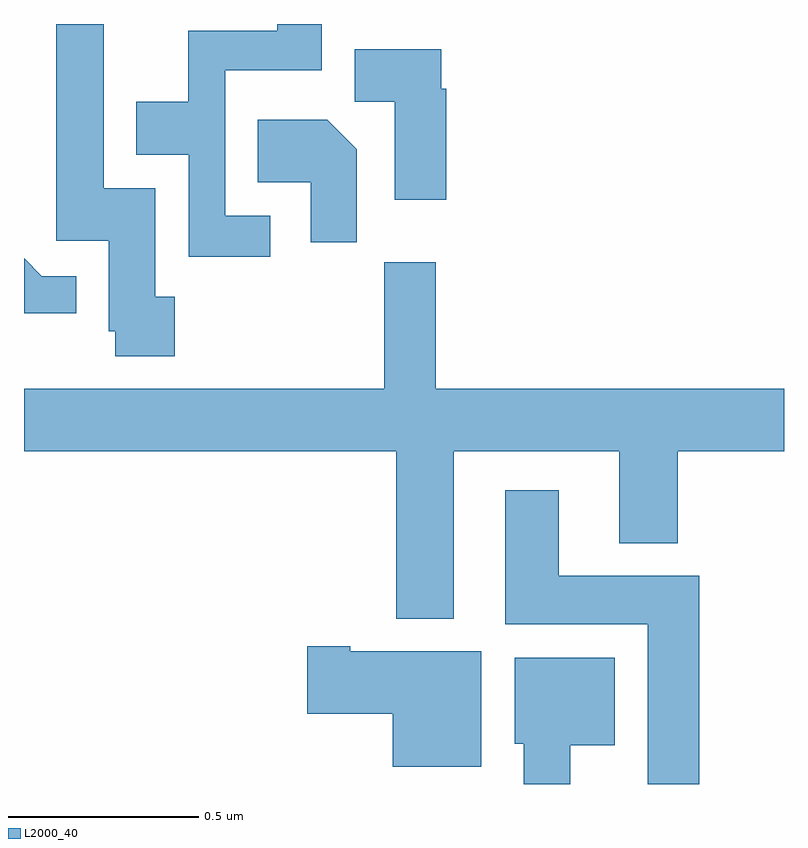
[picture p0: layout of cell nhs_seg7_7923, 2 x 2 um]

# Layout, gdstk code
import gdstk
lib = gdstk.Library(unit=1e-6, precision=1e-09)
def P(c, l, *ps):  # polygons
    for p in ps: c.add(gdstk.Polygon(p, *l))
L2000_40 = (2000, 40)

nhs_seg7_7923 = lib.new_cell('nhs_seg7_7923')
P(nhs_seg7_7923, L2000_40, [(217.397,1074.282),(217.345,1074.282),(217.345,1074.568),(217.21,1074.568),(217.21,1075),(217.085,1075),(217.085,1074.429),(217.223,1074.429),(217.223,1074.192),(217.24,1074.192),(217.24,1074.126),(217.397,1074.126)],
  [(217.648,1074.495),(217.53,1074.495),(217.53,1074.878),(217.783,1074.878),(217.783,1075),(217.667,1075),(217.667,1074.982),(217.432,1074.982),(217.432,1074.796),(217.295,1074.796),(217.295,1074.656),(217.434,1074.656),(217.434,1074.387),(217.648,1074.387)],
  [(218.111,1074.83),(218.098,1074.83),(218.098,1074.934),(217.871,1074.934),(217.871,1074.796),(217.976,1074.796),(217.976,1074.537),(218.111,1074.537)],
  [(217.876,1074.67),(217.798,1074.748),(217.615,1074.748),(217.615,1074.584),(217.754,1074.584),(217.754,1074.426),(217.876,1074.426)],
  [(217.138,1074.336),(217.047,1074.336),(217,1074.384),(217,1074.239),(217.138,1074.239)],
  [(217.948,1074.04),(217,1074.04),(217,1073.876),(217.979,1073.876),(217.979,1073.435),(218.131,1073.435),(218.131,1073.876),(218.567,1073.876),(218.567,1073.633),(218.72,1073.633),(218.72,1073.876),(219,1073.876),(219,1074.04),(218.084,1074.04),(218.084,1074.373),(217.948,1074.373)],
  [(218.777,1073.548),(218.407,1073.548),(218.407,1073.773),(218.267,1073.773),(218.267,1073.42),(218.642,1073.42),(218.642,1073),(218.777,1073)],
  [(218.203,1073.35),(217.858,1073.35),(217.858,1073.363),(217.746,1073.363),(217.746,1073.185),(217.97,1073.185),(217.97,1073.045),(218.203,1073.045)],
  [(218.437,1073.102),(218.554,1073.102),(218.554,1073.332),(218.291,1073.332),(218.291,1073.106),(218.315,1073.106),(218.315,1073),(218.437,1073)])

lib.write_gds('nhs_seg7_7923.gds')
